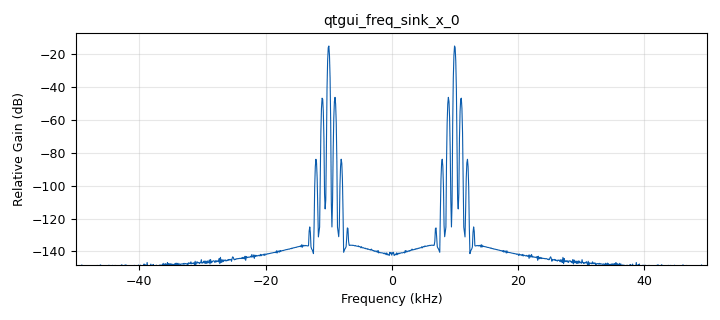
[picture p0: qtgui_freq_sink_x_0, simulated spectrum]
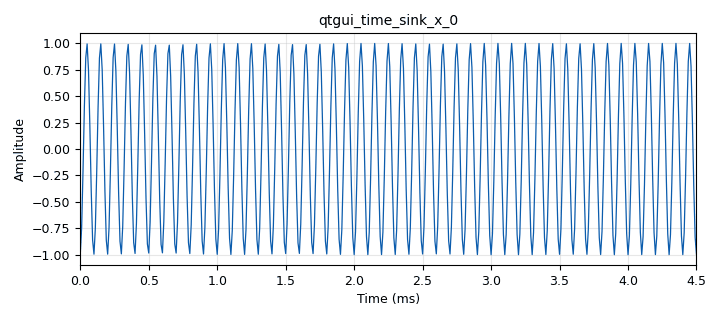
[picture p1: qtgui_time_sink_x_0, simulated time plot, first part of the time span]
options:
  parameters:
    generate_options: qt_gui
    id: tx_fm
    output_language: python
    title: Not titled yet
  states: {}

blocks:
- name: a
  id: variable
  parameters:
    value: '1'
  states: {}
- name: fc
  id: variable
  parameters:
    value: 10e3
  states: {}
- name: fm
  id: variable
  parameters:
    value: 1e3
  states: {}
- name: kf
  id: variable_qtgui_range
  parameters:
    label: Constante de proporcionalidade
    outputmsgname: value
    showports: 'False'
    start: '10'
    step: '10'
    stop: '1000'
    value: '50'
  states: {}
- name: samp_rate
  id: variable
  parameters:
    value: 100e3
  states: {}
- name: analog_sig_source_x_0
  id: analog_sig_source_x
  parameters:
    amp: a
    freq: fm
    offset: '0'
    phase: '0'
    samp_rate: samp_rate
    type: float
    waveform: analog.GR_COS_WAVE
  states: {}
- name: blocks_add_const_vxx_0_0
  id: blocks_add_const_vxx
  parameters:
    const: fc
    type: float
  states: {}
- name: blocks_moving_average_xx_0
  id: blocks_moving_average_xx
  parameters:
    length: '1024'
    max_iter: '4000'
    scale: (1/1024)
    type: float
  states: {}
- name: blocks_moving_average_xx_0_0
  id: blocks_moving_average_xx
  parameters:
    length: '1024'
    max_iter: '4000'
    scale: (1/1024)
    type: float
  states: {}
- name: blocks_moving_average_xx_0_1
  id: blocks_moving_average_xx
  parameters:
    length: '1024'
    max_iter: '4000'
    scale: (1/1024)*(samp_rate/2/fm)
    type: float
  states: {}
- name: blocks_multiply_const_vxx_0_0
  id: blocks_multiply_const_vxx
  parameters:
    const: kf
    type: float
  states: {}
- name: blocks_multiply_xx_0
  id: blocks_multiply_xx
  parameters:
    type: float
  states: {}
- name: blocks_multiply_xx_0_0
  id: blocks_multiply_xx
  parameters:
    type: float
  states: {}
- name: blocks_throttle_0
  id: blocks_throttle
  parameters:
    samples_per_second: samp_rate
    type: float
  states: {}
- name: blocks_vco_f_0_0
  id: blocks_vco_f
  parameters:
    amplitude: '1'
    samp_rate: samp_rate
    sensitivity: 2*3.14
  states: {}
- name: high_pass_filter_1
  id: high_pass_filter
  parameters:
    cutoff_freq: fcut
    decim: '1'
    gain: '1'
    samp_rate: samp_rate
    type: fir_filter_fff
    width: ft
    win: window.WIN_HAMMING
  states: {}
- name: qtgui_freq_sink_x_0
  id: qtgui_freq_sink_x
  parameters:
    autoscale: 'True'
    average: '0.1'
    bw: samp_rate
    fc: '0'
    fftsize: '1024'
    type: float
  states: {}
- name: qtgui_number_sink_0
  id: qtgui_number_sink
  parameters:
    autoscale: 'True'
    graph_type: qtgui.NUM_GRAPH_NONE
    label1: Potência da Mensagem
    label2: Potência do Sinal FM
    name: Potência do sinal
    nconnections: '2'
    type: float
  states: {}
- name: qtgui_time_sink_x_0
  id: qtgui_time_sink_x
  parameters:
    autoscale: 'True'
    size: '1024'
    srate: samp_rate
    type: float
  states: {}
- name: virtual_sink_0
  id: virtual_sink
  parameters:
    stream_id: u(t)
  states: {}
- name: virtual_sink_0_0
  id: virtual_sink
  parameters:
    stream_id: Pm
  states: {}
- name: virtual_sink_0_0_0
  id: virtual_sink
  parameters:
    stream_id: Ps
  states: {}
- name: virtual_source_0
  id: virtual_source
  parameters:
    stream_id: u(t)
  states: {}
- name: virtual_source_0_0_0
  id: virtual_source
  parameters:
    stream_id: Pm
  states: {}
- name: virtual_source_0_1
  id: virtual_source
  parameters:
    stream_id: Ps
  states: {}

connections:
- [analog_sig_source_x_0, '0', blocks_throttle_0, '0']
- [blocks_add_const_vxx_0_0, '0', blocks_vco_f_0_0, '0']
- [blocks_moving_average_xx_0, '0', virtual_sink_0_0, '0']
- [blocks_moving_average_xx_0_0, '0', virtual_sink_0_0_0, '0']
- [blocks_moving_average_xx_0_1, '0', blocks_multiply_const_vxx_0_0, '0']
- [blocks_multiply_const_vxx_0_0, '0', blocks_add_const_vxx_0_0, '0']
- [blocks_multiply_xx_0, '0', blocks_moving_average_xx_0, '0']
- [blocks_multiply_xx_0_0, '0', blocks_moving_average_xx_0_0, '0']
- [blocks_throttle_0, '0', blocks_moving_average_xx_0_1, '0']
- [blocks_throttle_0, '0', blocks_multiply_xx_0, '0']
- [blocks_throttle_0, '0', blocks_multiply_xx_0, '1']
- [blocks_vco_f_0_0, '0', blocks_multiply_xx_0_0, '0']
- [blocks_vco_f_0_0, '0', blocks_multiply_xx_0_0, '1']
- [blocks_vco_f_0_0, '0', qtgui_freq_sink_x_0, '0']
- [blocks_vco_f_0_0, '0', qtgui_time_sink_x_0, '0']
- [blocks_vco_f_0_0, '0', virtual_sink_0, '0']
- [virtual_source_0, '0', high_pass_filter_1, '0']
- [virtual_source_0_0_0, '0', qtgui_number_sink_0, '0']
- [virtual_source_0_1, '0', qtgui_number_sink_0, '1']

metadata:
  file_format: 1
  grc_version: 3.10.4.0
